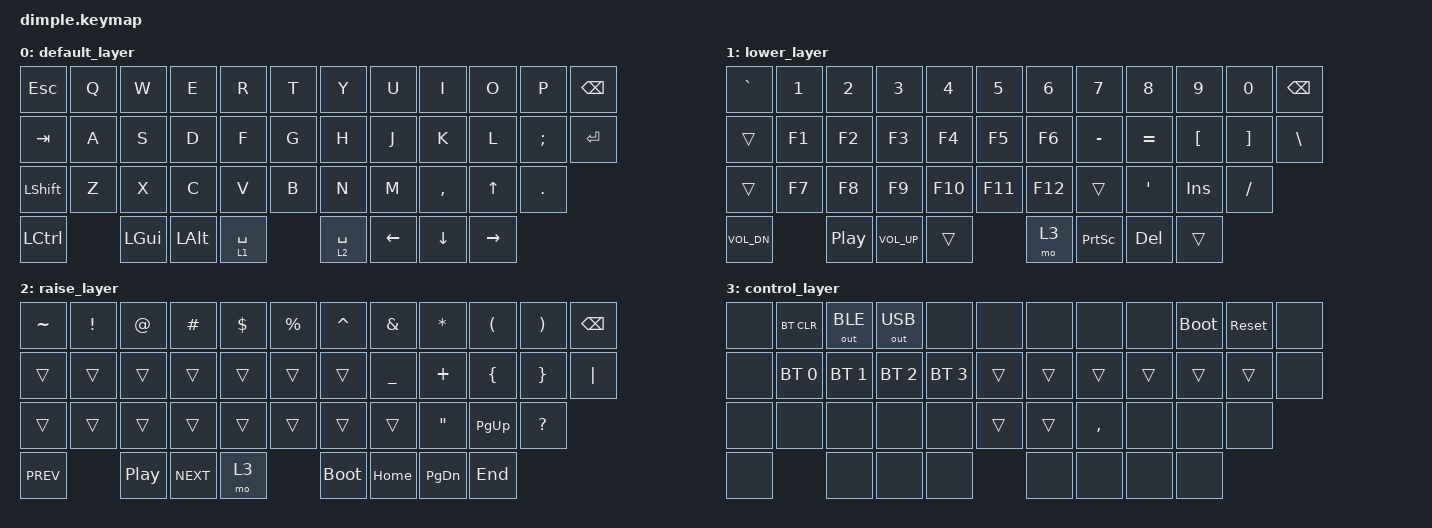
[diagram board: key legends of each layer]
/*
 * Copyright (c) 2022 LAZYDESIGNERS
 *
 * SPDX-License-Identifier: MIT
 */

#include <behaviors.dtsi>
#include <dt-bindings/zmk/bt.h>
#include <dt-bindings/zmk/keys.h>
#include <dt-bindings/zmk/outputs.h>

#define DEFAULT 0
#define LOWER   1
#define RAISE   2
#define CONTROL 3

/ {
    keymap {
        compatible = "zmk,keymap";

        default_layer {
            bindings = <
&kp ESC    &kp Q  &kp W         &kp E         &kp R        &kp T  &kp Y        &kp U     &kp I      &kp O      &kp P       &kp BSPC
&kp TAB    &kp A  &kp S         &kp D         &kp F        &kp G  &kp H        &kp J     &kp K      &kp L      &kp SEMI    &kp ENTER
&kp LSHFT  &kp Z  &kp X         &kp C         &kp V        &kp B  &kp N        &kp M     &kp COMMA  &kp UP     &kp PERIOD
&kp LCTRL         &kp LEFT_GUI  &kp LEFT_ALT  &lt 1 SPACE         &lt 2 SPACE  &kp LEFT  &kp DOWN   &kp RIGHT
            >;
        };

        lower_layer {
            bindings = <
&kp GRAVE     &kp NUMBER_1  &kp N2            &kp N3        &kp N4   &kp N5   &kp N6   &kp N7           &kp N8            &kp N9            &kp N0             &kp BACKSPACE
&trans        &kp F1        &kp F2            &kp F3        &kp F4   &kp F5   &kp F6   &kp MINUS        &kp EQUAL         &kp LEFT_BRACKET  &kp RIGHT_BRACKET  &kp BACKSLASH
&trans        &kp F7        &kp F8            &kp F9        &kp F10  &kp F11  &kp F12  &trans           &kp SINGLE_QUOTE  &kp INS           &kp SLASH
&kp C_VOL_DN                &kp C_PLAY_PAUSE  &kp C_VOL_UP  &trans            &mo 3    &kp PRINTSCREEN  &kp DEL           &trans
            >;
        };

        raise_layer {
            bindings = <
&kp TILDE   &kp EXCL  &kp AT            &kp HASH    &kp DLLR  &kp PRCNT  &kp CARET    &kp AMPS        &kp STAR           &kp LPAR        &kp RPAR         &kp BACKSPACE
&trans      &trans    &trans            &trans      &trans    &trans     &trans       &kp UNDERSCORE  &kp PLUS           &kp LEFT_BRACE  &kp RIGHT_BRACE  &kp PIPE
&trans      &trans    &trans            &trans      &trans    &trans     &trans       &trans          &kp DOUBLE_QUOTES  &kp PAGE_UP     &kp QUESTION
&kp C_PREV            &kp C_PLAY_PAUSE  &kp C_NEXT  &mo 3                &bootloader  &kp HOME        &kp PAGE_DOWN      &kp END
            >;
        };

        control_layer {
            bindings = <
&none  &bt BT_CLR    &out OUT_BLE  &out OUT_USB  &none         &none   &none   &none      &none   &bootloader  &sys_reset  &none
&none  &bt BT_SEL 0  &bt BT_SEL 1  &bt BT_SEL 2  &bt BT_SEL 3  &trans  &trans  &trans     &trans  &trans       &trans      &none
&none  &none         &none         &none         &none         &trans  &trans  &kp COMMA  &none   &none        &none
&none                &none         &none         &none                 &none   &none      &none   &none
            >;
        };
    };
};
